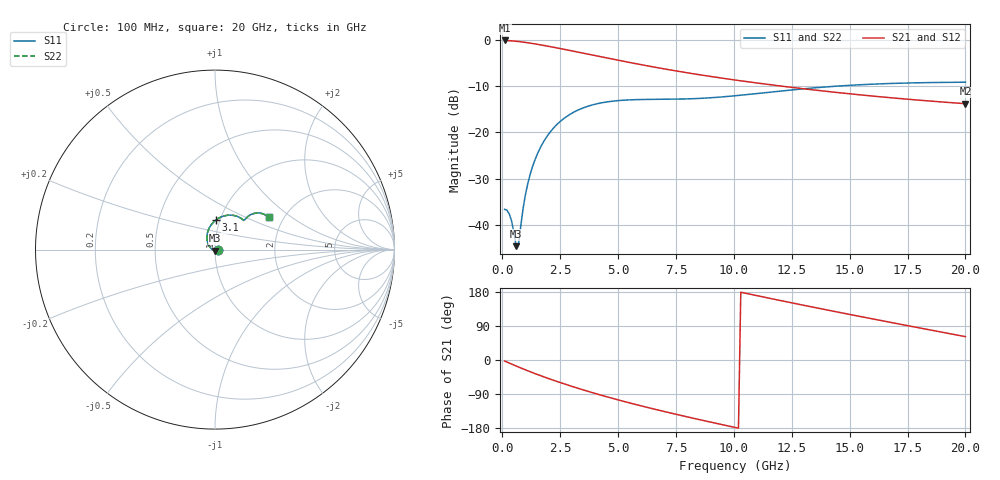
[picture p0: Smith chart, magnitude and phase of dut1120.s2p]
! Touchstone file exported from HFSS 2024.1.0
!  File:  C:/UserFiles/LocalFiles/RDL_TSV_Batchsim/temp_RDL_TSV_1120_1780106034.aedt
!  Generated:  10:05:48 AM May 30, 2026
!  Design:  RDL_TSV
!  Project:  temp_RDL_TSV_1120_1780106034
!  Setup:  Setup1
!  Solution:  Sweep
! Variables:
!  dtsv = 13.12um
!  hbump = 3um
!  htsv = 87.63um
!  ldown = 552.59um
!  lrdl = 678.95um
!  p = 40
!  p1 = 57.56um
!  rhole = 10um
!  subl = 4373.57um
!  t = 450um
!  tdown = 3.33um
!  trdl = 4.91um
!  viad = 10um
!  wdown = 29.14um
!  wrdl = 24.03um
!  xbump = 18um
# GHz S MA R 50.000000
! Terminal data exported
! Port[1] = TM1_1_T1
! Port[2] = TM1_4_T1
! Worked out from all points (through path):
!   200 points, 100 MHz to 20 GHz, reference 50 ohm
!   highest |S21| = -0.14 dB at 100 MHz (marker M1); lowest = -13.8 dB at 20 GHz (marker M2)
!   group delay of S21, straight-line fit = 39.1 ps
!   lowest |S11| = -44.6 dB at 600 MHz (marker M3), VSWR 1.01, Z = 50.1 - j0.579 ohm
!   |S11| at or under -10 dB: start of sweep to 14.49 GHz
!   |S22| runs from -44.6 to -9.2 dB; largest |S21 - S12| = 8.6e-15
!   S11 on the Smith chart (normalised r, x): 100 MHz: 1.03, -0.00; 3.1 GHz: 0.96, +0.33; 20 GHz: 1.67, +0.69
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0.1  0.01471 -3.3  0.9843 -2.8  0.9843 -2.8  0.01471 -3.3
! Gamma 0 0 0 0
! Port Impedance 50 0 50 0
0.3  0.01314 -17.9  0.9784 -8.1  0.9784 -8.1  0.01314 -17.9
0.4  0.01101 -29.3  0.9745 -10.8  0.9745 -10.8  0.01101 -29.3
0.6  0.005873 -79.5  0.9646 -16.0  0.9646 -16.0  0.005874 -79.5
0.7  0.006099 -132.0  0.9587 -18.5  0.9587 -18.5  0.006101 -132.0
0.9  0.0151 175.9  0.9453 -23.6  0.9453 -23.6  0.0151 175.9
1.1  0.02784 157.3  0.93 -28.5  0.93 -28.5  0.02784 157.3
1.3  0.04212 145.3  0.9134 -33.2  0.9134 -33.2  0.04212 145.4
1.5  0.05723 135.9  0.896 -37.9  0.896 -37.9  0.05723 135.9
1.8  0.08037 124.0  0.869 -44.6  0.869 -44.6  0.08037 124.1
2.2  0.1102 110.8  0.8323 -53.3  0.8323 -53.3  0.1103 110.8
3.1  0.1658 87.8  0.7515 -71.4  0.7515 -71.4  0.1658 87.9
3.5  0.1839 79.8  0.7172 -79.0  0.7172 -79.0  0.184 79.8
4.3  0.2087 66.9  0.6529 -93.4  0.6529 -93.4  0.2088 66.9
5.1  0.2212 57.6  0.5951 -106.9  0.5951 -106.9  0.2214 57.6
6.8  0.2273 47.2  0.4947 -133.1  0.4947 -133.1  0.2276 47.1
8.3  0.2312 45.1  0.4276 -154.4  0.4276 -154.4  0.2315 45.0
10.1  0.249 45.4  0.3662 -178.6  0.3662 -178.6  0.249 45.2
11.7  0.274 44.7  0.324 160.8  0.324 160.8  0.2738 44.6
13.4  0.3013 42.3  0.288 139.7  0.288 139.7  0.3009 42.2
16.7  0.3369 35.8  0.2373 100.1  0.2373 100.1  0.3364 35.7
20  0.3482 31.1  0.204 61.6  0.204 61.6  0.3478 31.0
